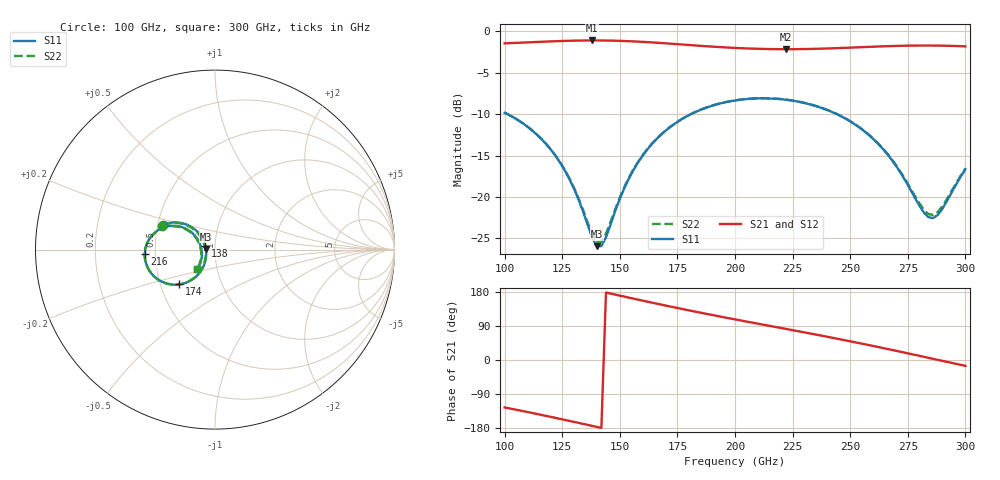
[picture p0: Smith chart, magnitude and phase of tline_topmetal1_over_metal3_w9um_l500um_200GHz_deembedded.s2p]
! Created with skrf 2.2.0 (http://scikit-rf.org).
# GHz S DB R 50.0
! Port[1] = P1
! Port[2] = P2
!freq dBS11 angS11 dBS21 angS21 dBS12 angS12 dBS22 angS22
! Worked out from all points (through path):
!   101 points, 100 GHz to 300 GHz, reference 50 ohm
!   highest |S21| = -1.13 dB at 138 GHz (marker M1); lowest = -2.2 dB at 222 GHz (marker M2)
!   group delay of S21, straight-line fit = 3.43 ps
!   lowest |S11| = -25.9 dB at 140 GHz (marker M3), VSWR 1.11, Z = 45.2 + j0.303 ohm
!   |S11| at or under -10 dB: 101.1 GHz to 181 GHz (79.9 GHz wide, 56.6 % of centre); 244.1 GHz to end of sweep
!   |S22| runs from -25.4 to -8.1 dB; largest |S21 - S12| = 1.4e-15
!   S11 on the Smith chart (normalised r, x): 100 GHz: 0.53, +0.16; 138 GHz: 0.90, +0.04; 174 GHz: 0.63, -0.26; 216 GHz: 0.44, -0.02; 300 GHz: 0.80, -0.18
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100  -9.84 154.8  -1.48 -125.2  -1.48 -125.2  -9.83 155.4
120  -14.27 137.0  -1.25 -150.1  -1.25 -150.1  -14.24 138.0
128  -17.76 134.7  -1.18 -160.5  -1.18 -160.5  -17.69 136.2
134  -21.72 141.8  -1.14 -168.5  -1.14 -168.5  -21.53 143.8
138  -24.87 159.9  -1.13 -173.9  -1.13 -173.9  -24.47 161.8
140  -25.93 176.2  -1.14 -176.6  -1.14 -176.6  -25.41 177.3
144  -24.86 -148.6  -1.15 178.0  -1.15 178.0  -24.44 -149.7
150  -20.22 -126.6  -1.18 169.9  -1.18 169.9  -20.06 -127.8
156  -16.71 -123.4  -1.25 161.9  -1.25 161.9  -16.63 -124.2
168  -12.47 -130.3  -1.44 146.1  -1.44 146.1  -12.44 -130.7
174  -11.14 -135.7  -1.56 138.5  -1.56 138.5  -11.12 -135.9
186  -9.39 -147.3  -1.80 123.7  -1.80 123.7  -9.37 -147.3
200  -8.37 -161.1  -2.03 107.2  -2.03 107.2  -8.35 -161.0
216  -8.14 -176.6  -2.17 88.9  -2.17 88.9  -8.12 -176.3
222  -8.28 177.7  -2.19 82.1  -2.19 82.1  -8.26 178.1
234  -8.95 166.6  -2.15 68.4  -2.15 68.4  -8.93 167.0
254  -11.63 149.6  -1.95 44.5  -1.95 44.5  -11.59 150.4
268  -15.51 143.5  -1.81 26.8  -1.81 26.8  -15.44 144.6
282  -21.88 168.1  -1.75 8.4  -1.75 8.4  -21.56 169.2
286  -22.54 -170.5  -1.75 3.1  -1.75 3.1  -22.16 -170.4
290  -21.42 -150.6  -1.76 -2.3  -1.76 -2.3  -21.13 -151.3
300  -16.65 -131.6  -1.85 -15.5  -1.85 -15.5  -16.56 -132.3
